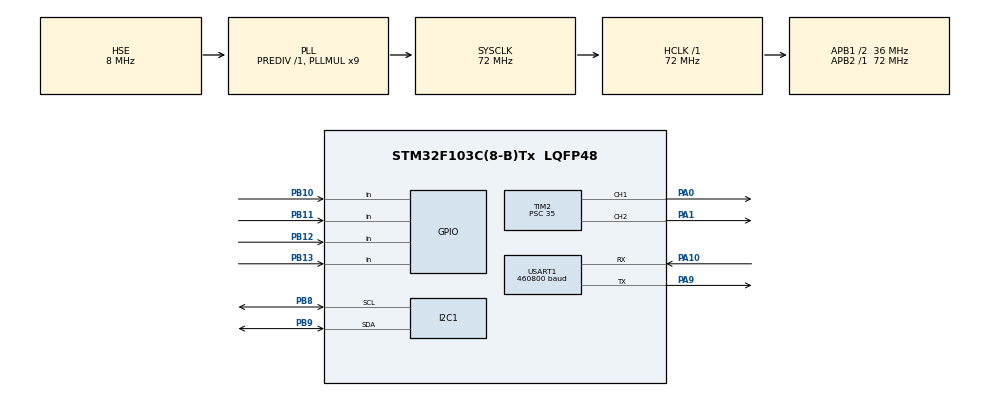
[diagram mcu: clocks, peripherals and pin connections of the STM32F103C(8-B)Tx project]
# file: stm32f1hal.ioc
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Dma.Request0=USART1_RX
Dma.USART1_RX.0.Direction=DMA_PERIPH_TO_MEMORY
Dma.USART1_RX.0.Instance=DMA1_Channel5
Dma.USART1_RX.0.MemDataAlignment=DMA_MDATAALIGN_BYTE
Dma.USART1_RX.0.MemInc=DMA_MINC_ENABLE
Dma.USART1_RX.0.Mode=DMA_CIRCULAR
Dma.USART1_RX.0.PeriphDataAlignment=DMA_PDATAALIGN_BYTE
Dma.USART1_RX.0.PeriphInc=DMA_PINC_DISABLE
Dma.USART1_RX.0.Priority=DMA_PRIORITY_LOW
I2C1.I2C_Mode=I2C_Fast
Mcu.Family=STM32F1
Mcu.Name=STM32F103C(8-B)Tx
Mcu.Package=LQFP48
NVIC.DMA1_Channel5_IRQn=true\:0\:0\:false\:false\:true\:false\:true\:true
NVIC.PriorityGroup=NVIC_PRIORITYGROUP_4
PA0-WKUP.Signal=S_TIM2_CH1_ETR
PA1.Signal=S_TIM2_CH2
PA10.Mode=Asynchronous
PA10.Signal=USART1_RX
PA13.Mode=Serial_Wire
PA13.Signal=SYS_JTMS-SWDIO
PA14.Mode=Serial_Wire
PA14.Signal=SYS_JTCK-SWCLK
PA9.Mode=Asynchronous
PA9.Signal=USART1_TX
PB10.GPIO_PuPd=GPIO_PULLDOWN
PB10.Signal=GPIO_Input
PB11.GPIO_PuPd=GPIO_PULLDOWN
PB11.Signal=GPIO_Input
PB12.GPIO_PuPd=GPIO_PULLDOWN
PB12.Signal=GPIO_Input
PB13.GPIO_PuPd=GPIO_PULLDOWN
PB13.Signal=GPIO_Input
PB8.Mode=I2C
PB8.Signal=I2C1_SCL
PB9.Mode=I2C
PB9.Signal=I2C1_SDA
PD0-OSC_IN.Mode=HSE-External-Oscillator
PD0-OSC_IN.Signal=RCC_OSC_IN
PD1-OSC_OUT.Mode=HSE-External-Oscillator
PD1-OSC_OUT.Signal=RCC_OSC_OUT
ProjectManager.HeapSize=0x200
ProjectManager.StackSize=0x400
ProjectManager.TargetToolchain=MDK-ARM V5.32
RCC.AHBFreq_Value=72000000
RCC.APB1CLKDivider=RCC_HCLK_DIV2
RCC.APB1Freq_Value=36000000
RCC.APB1TimFreq_Value=72000000
RCC.APB2Freq_Value=72000000
RCC.APB2TimFreq_Value=72000000
RCC.HCLKFreq_Value=72000000
RCC.PLLMUL=RCC_PLL_MUL9
RCC.PLLSourceVirtual=RCC_PLLSOURCE_HSE
RCC.SYSCLKFreq_VALUE=72000000
RCC.SYSCLKSource=RCC_SYSCLKSOURCE_PLLCLK
RCC.USBFreq_Value=72000000
SH.S_TIM2_CH1_ETR.0=TIM2_CH1,PWM Generation1 CH1
SH.S_TIM2_CH2.0=TIM2_CH2,PWM Generation2 CH2
TIM2.AutoReloadPreload=TIM_AUTORELOAD_PRELOAD_ENABLE
TIM2.Channel-PWM\ Generation1\ CH1=TIM_CHANNEL_1
TIM2.Channel-PWM\ Generation2\ CH2=TIM_CHANNEL_2
TIM2.Period=39999
TIM2.Prescaler=35
USART1.BaudRate=460800
USART1.VirtualMode=VM_ASYNC
board=custom

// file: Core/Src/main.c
/* USER CODE BEGIN Header */
/**
  ******************************************************************************
  * @file           : main.c
  * @brief          : Main program body
  ******************************************************************************
  * @attention
  *
  * Copyright (c) 2025 STMicroelectronics.
  * All rights reserved.
  *
  * This software is licensed under terms that can be found in the LICENSE file
  * in the root directory of this software component.
  * If no LICENSE file comes with this software, it is provided AS-IS.
  *
  ******************************************************************************
  */
/* USER CODE END Header */
#include "main.h"
#include "dma.h"
#include "i2c.h"
#include "tim.h"
#include "usart.h"
#include "gpio.h"

/* USER CODE BEGIN Includes */
#include "ui.h"
#include "Servo.h"
#include "openmv.h"
#include "ServoPid.h"
#include "uart_dma.h"
/* USER CODE END Includes */

/* USER CODE BEGIN PD */
typedef struct {
	const char *task_name;
	int execution_time;
	void (*func)(void);
	bool enable;
	uint32_t last_time;
} periodic_task_t;
/* USER CODE END PD */

/* USER CODE BEGIN PM */
#define MAX_TASK 10
#define RUN true
#define IDLE false
/* USER CODE END PM */

/* USER CODE BEGIN PV */
periodic_task_t tasks[MAX_TASK] = {
	{"OLED_TICK", 	  20,   oled_menu_tick,				 RUN },
	{"BUTTON_TICK",   20,   button_ticks, 				 RUN },
	{"UART_DMA", 	    1, 	  UART_Process_DMA_Data, RUN },
	{"OPENMV_TASK",   1,    process_received_data, RUN },
	{"SERVO_CONTROL", 20,   servo_pid_control,	   RUN },

};
/* USER CODE END PV */

void SystemClock_Config(void);
/* USER CODE BEGIN PFP */
void enable_task(const char* task_name, bool enable) {
    for (int i = 0; i < MAX_TASK; i++) {
        if (strcmp(tasks[i].task_name, task_name) == 0) {
            tasks[i].enable = enable;
            return;
        }
    }
}

/* USER CODE END PFP */

int main(void)
{

  /* MCU Configuration--------------------------------------------------------*/

  /* Reset of all peripherals, Initializes the Flash interface and the Systick. */
  HAL_Init();

  /* Configure the system clock */
  SystemClock_Config();

  /* Initialize all configured peripherals */
  MX_GPIO_Init();
  MX_DMA_Init();
  MX_TIM2_Init();
  MX_USART1_UART_Init();
  MX_I2C1_Init();
  /* USER CODE BEGIN 2 */
	openmv_init();
	UART_DMA_Init();
	Servo_Init();
	Servo_Reset();
	servo_pid_init();
	menu_init_and_create();
  /* USER CODE END 2 */

  /* Infinite loop */
  /* USER CODE BEGIN WHILE */
  while (1)
  {
		uint32_t current_time = HAL_GetTick();
		for (int i = 0; i < MAX_TASK; i++) {
			if (tasks[i].enable == IDLE) continue;
			if (current_time - tasks[i].last_time >= tasks[i].execution_time && current_time != 0)
			{
				tasks[i].last_time = current_time;
				tasks[i].func();
			}
		}
    /* USER CODE END WHILE */

  }
}

void SystemClock_Config(void)
{
  RCC_OscInitTypeDef RCC_OscInitStruct = {0};
  RCC_ClkInitTypeDef RCC_ClkInitStruct = {0};

  /** Initializes the RCC Oscillators according to the specified parameters
  * in the RCC_OscInitTypeDef structure.
  */
  RCC_OscInitStruct.OscillatorType = RCC_OSCILLATORTYPE_HSE;
  RCC_OscInitStruct.HSEState = RCC_HSE_ON;
  RCC_OscInitStruct.HSEPredivValue = RCC_HSE_PREDIV_DIV1;
  RCC_OscInitStruct.HSIState = RCC_HSI_ON;
  RCC_OscInitStruct.PLL.PLLState = RCC_PLL_ON;
  RCC_OscInitStruct.PLL.PLLSource = RCC_PLLSOURCE_HSE;
  RCC_OscInitStruct.PLL.PLLMUL = RCC_PLL_MUL9;
  if (HAL_RCC_OscConfig(&RCC_OscInitStruct) != HAL_OK)
  {
    Error_Handler();
  }

  /** Initializes the CPU, AHB and APB buses clocks
  */
  RCC_ClkInitStruct.ClockType = RCC_CLOCKTYPE_HCLK|RCC_CLOCKTYPE_SYSCLK
                              |RCC_CLOCKTYPE_PCLK1|RCC_CLOCKTYPE_PCLK2;
  RCC_ClkInitStruct.SYSCLKSource = RCC_SYSCLKSOURCE_PLLCLK;
  RCC_ClkInitStruct.AHBCLKDivider = RCC_SYSCLK_DIV1;
  RCC_ClkInitStruct.APB1CLKDivider = RCC_HCLK_DIV2;
  RCC_ClkInitStruct.APB2CLKDivider = RCC_HCLK_DIV1;

  if (HAL_RCC_ClockConfig(&RCC_ClkInitStruct, FLASH_LATENCY_2) != HAL_OK)
  {
    Error_Handler();
  }
}

void Error_Handler(void)
{
  __disable_irq();
  while (1)
  {
  }
}
